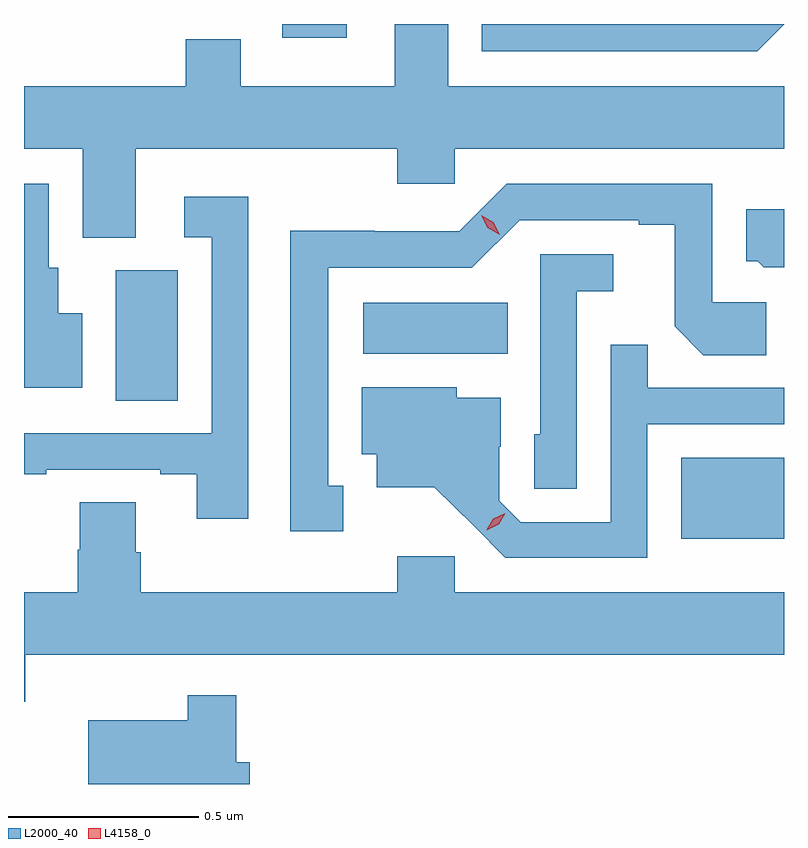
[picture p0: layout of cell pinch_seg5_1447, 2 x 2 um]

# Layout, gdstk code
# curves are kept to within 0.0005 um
import gdstk
lib = gdstk.Library(unit=1e-6, precision=1e-09)
def R(c, l, rs):  # rectangles x0, y0, x1, y1
    for r in rs: c.add(gdstk.rectangle(r[:2], r[2:], *l))
def P(c, l, *ps):  # polygons
    for p in ps: c.add(gdstk.Polygon(p, *l))
L2000_40 = (2000, 40)
L4158_0 = (4158, 0)

pinch_seg5_1447 = lib.new_cell('pinch_seg5_1447')
R(pinch_seg5_1447, L2000_40, [(162.632,895.694,162.903,895.906), (161.144,896.056,161.308,896.4), (161.796,896.18,162.176,896.314), (161.583,897.012,161.752,897.048)])
P(pinch_seg5_1447, L2000_40, [(161.197,896.72),(161.885,896.72),(161.885,896.627),(162.036,896.627),(162.036,896.72),(162.903,896.72),(162.903,896.884),(162.019,896.884),(162.019,897.048),(161.879,897.048),(161.879,896.884),(161.473,896.884),(161.473,897.008),(161.329,897.008),(161.329,896.884),(160.903,896.884),(160.903,896.72),(161.057,896.72),(161.057,896.485),(161.197,896.485)],
  [(162.903,897.047),(162.903,897.048),(162.108,897.048),(162.108,896.976),(162.832,896.976)],
  [(161.056,896.287),(160.993,896.287),(160.993,896.406),(160.968,896.406),(160.968,896.628),(160.903,896.628),(160.903,896.091),(161.056,896.091)],
  [(161.743,895.833),(161.704,895.833),(161.704,896.406),(162.081,896.406),(162.207,896.532),(162.521,896.532),(162.521,896.52),(162.615,896.52),(162.615,896.252),(162.691,896.176),(162.856,896.176),(162.856,896.316),(162.714,896.316),(162.714,896.628),(162.174,896.628),(162.048,896.502),(161.826,896.502),(161.826,896.504),(161.603,896.504),(161.603,895.713),(161.743,895.713)],
  [(161.493,896.593),(161.325,896.593),(161.325,896.487),(161.397,896.487),(161.397,895.971),(160.903,895.971),(160.903,895.863),(160.961,895.863),(160.961,895.875),(161.261,895.875),(161.261,895.863),(161.357,895.863),(161.357,895.746),(161.493,895.746)],
  [(162.903,896.56),(162.803,896.56),(162.803,896.424),(162.834,896.424),(162.85,896.408),(162.903,896.408)],
  [(162.357,896.345),(162.454,896.345),(162.454,896.442),(162.261,896.442),(162.261,895.968),(162.246,895.968),(162.246,895.825),(162.357,895.825)],
  [(162.543,895.995),(162.903,895.995),(162.903,896.091),(162.545,896.091),(162.545,896.204),(162.447,896.204),(162.447,895.737),(162.21,895.737),(162.153,895.794),(162.153,895.936),(162.157,895.936),(162.157,896.065),(162.042,896.065),(162.042,896.092),(161.792,896.092),(161.792,895.916),(161.831,895.916),(161.831,895.829),(161.983,895.829),(162.17,895.644),(162.543,895.644)],
  [(160.906,895.388),(162.903,895.388),(162.903,895.552),(162.036,895.552),(162.036,895.648),(161.885,895.648),(161.885,895.552),(161.21,895.552),(161.21,895.658),(161.197,895.658),(161.197,895.79),(161.05,895.79),(161.05,895.665),(161.045,895.665),(161.045,895.552),(160.903,895.552),(160.903,895.265),(160.906,895.265)],
  [(161.497,895.105),(161.462,895.105),(161.462,895.282),(161.334,895.282),(161.334,895.216),(161.072,895.216),(161.072,895.048),(161.497,895.048)])
P(pinch_seg5_1447, L4158_0, [(162.121,895.716),(162.121,895.717),(162.138,895.746),(162.169,895.761),(162.169,895.761),(162.169,895.761),(162.152,895.732),(162.121,895.716)],
  [(162.155,896.493),(162.123,896.512),(162.106,896.545),(162.106,896.545),(162.106,896.545),(162.138,896.526),(162.155,896.493),(162.155,896.493)])

lib.write_gds('pinch_seg5_1447.gds')
